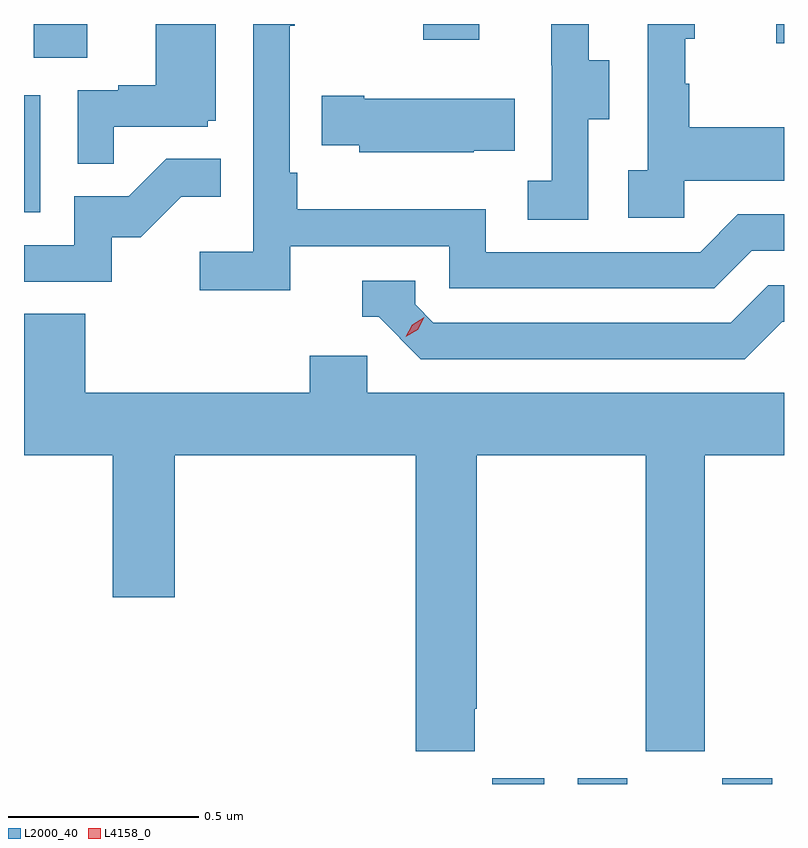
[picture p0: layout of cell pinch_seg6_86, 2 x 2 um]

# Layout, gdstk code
import gdstk
lib = gdstk.Library(unit=1e-6, precision=1e-09)
def R(c, l, rs):  # rectangles x0, y0, x1, y1
    for r in rs: c.add(gdstk.rectangle(r[:2], r[2:], *l))
def P(c, l, *ps):  # polygons
    for p in ps: c.add(gdstk.Polygon(p, *l))
L2000_40 = (2000, 40)
L4158_0 = (4158, 0)

pinch_seg6_86 = lib.new_cell('pinch_seg6_86')
R(pinch_seg6_86, L2000_40, [(921.251,926.491,921.388,926.506), (921.476,926.491,921.607,926.506), (921.857,926.491,921.988,926.506), (920.019,927.996,920.062,928.303), (920.045,928.402,920.185,928.491), (921.998,928.44,922.019,928.491), (921.07,928.449,921.217,928.491)])
P(pinch_seg6_86, L2000_40, [(921.504,928.24),(921.559,928.24),(921.559,928.395),(921.505,928.395),(921.505,928.491),(921.407,928.491),(921.407,928.383),(921.408,928.383),(921.408,928.079),(921.345,928.079),(921.345,927.976),(921.504,927.976)],
  [(920.255,928.221),(920.502,928.221),(920.502,928.236),(920.524,928.236),(920.524,928.491),(920.366,928.491),(920.366,928.33),(920.267,928.33),(920.267,928.317),(920.16,928.317),(920.16,928.123),(920.255,928.123)],
  [(920.72,927.906),(921.138,927.906),(921.138,927.795),(921.835,927.795),(921.934,927.894),(922.019,927.894),(922.019,927.99),(921.897,927.99),(921.798,927.891),(921.234,927.891),(921.234,928.003),(920.738,928.003),(920.738,928.099),(920.718,928.099),(920.718,928.487),(920.731,928.487),(920.731,928.491),(920.622,928.491),(920.622,927.892),(920.481,927.892),(920.481,927.79),(920.72,927.79)],
  [(921.756,928.079),(922.019,928.079),(922.019,928.219),(921.769,928.219),(921.769,928.334),(921.759,928.334),(921.759,928.452),(921.784,928.452),(921.784,928.491),(921.66,928.491),(921.66,928.106),(921.609,928.106),(921.609,927.981),(921.756,927.981)],
  [(921.203,928.157),(921.311,928.157),(921.311,928.294),(920.914,928.294),(920.914,928.302),(920.803,928.302),(920.803,928.172),(920.901,928.172),(920.901,928.154),(921.203,928.154)],
  [(920.25,927.93),(920.326,927.93),(920.433,928.037),(920.537,928.037),(920.537,928.136),(920.393,928.136),(920.295,928.038),(920.151,928.038),(920.151,927.909),(920.019,927.909),(920.019,927.813),(920.25,927.813)],
  [(922.015,927.708),(922.019,927.708),(922.019,927.804),(921.978,927.804),(921.879,927.705),(921.096,927.705),(921.048,927.753),(921.048,927.816),(920.909,927.816),(920.909,927.72),(920.952,927.72),(921.063,927.609),(921.916,927.609)],
  [(920.922,927.618),(920.771,927.618),(920.771,927.52),(920.18,927.52),(920.18,927.728),(920.019,927.728),(920.019,927.356),(920.252,927.356),(920.252,926.982),(920.416,926.982),(920.416,927.356),(921.05,927.356),(921.05,926.577),(921.205,926.577),(921.205,926.689),(921.21,926.689),(921.21,927.356),(921.655,927.356),(921.655,926.577),(921.81,926.577),(921.81,927.356),(922.019,927.356),(922.019,927.52),(920.922,927.52)])
P(pinch_seg6_86, L4158_0, [(921.024,927.668),(921.024,927.668),(921.041,927.7),(921.072,927.719),(921.072,927.719),(921.072,927.719),(921.055,927.686),(921.024,927.668)])

lib.write_gds('pinch_seg6_86.gds')
